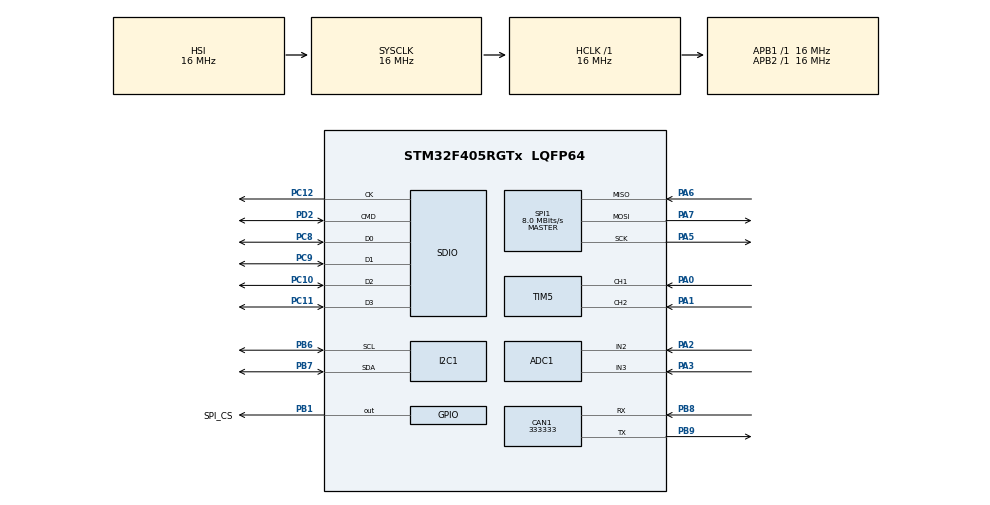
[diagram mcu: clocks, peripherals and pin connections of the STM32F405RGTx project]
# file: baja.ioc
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ADC1.Channel-0\#ChannelRegularConversion=ADC_CHANNEL_2
ADC1.Channel-1\#ChannelRegularConversion=ADC_CHANNEL_3
ADC1.ContinuousConvMode=ENABLE
ADC1.DMAContinuousRequests=ENABLE
ADC1.DiscontinuousConvMode=DISABLE
ADC1.NbrOfConversion=2
ADC1.NbrOfConversionFlag=1
ADC1.Rank-0\#ChannelRegularConversion=1
ADC1.Rank-1\#ChannelRegularConversion=2
ADC1.SamplingTime-0\#ChannelRegularConversion=ADC_SAMPLETIME_3CYCLES
ADC1.SamplingTime-1\#ChannelRegularConversion=ADC_SAMPLETIME_3CYCLES
ADC1.ScanConvMode=ENABLE
ADC1.master=1
CAN1.ABOM=ENABLE
CAN1.AWUM=ENABLE
CAN1.CalculateBaudRate=333333
CAN1.CalculateTimeBit=3000
CAN1.CalculateTimeQuantum=1000.0
CAN1.NART=ENABLE
Dma.ADC1.2.Direction=DMA_PERIPH_TO_MEMORY
Dma.ADC1.2.FIFOMode=DMA_FIFOMODE_DISABLE
Dma.ADC1.2.Instance=DMA2_Stream0
Dma.ADC1.2.MemDataAlignment=DMA_MDATAALIGN_HALFWORD
Dma.ADC1.2.MemInc=DMA_MINC_ENABLE
Dma.ADC1.2.Mode=DMA_CIRCULAR
Dma.ADC1.2.PeriphDataAlignment=DMA_PDATAALIGN_HALFWORD
Dma.ADC1.2.PeriphInc=DMA_PINC_DISABLE
Dma.ADC1.2.Priority=DMA_PRIORITY_HIGH
Dma.Request0=SDIO_RX
Dma.Request1=SDIO_TX
Dma.Request2=ADC1
Dma.SDIO_RX.0.Direction=DMA_PERIPH_TO_MEMORY
Dma.SDIO_RX.0.FIFOMode=DMA_FIFOMODE_ENABLE
Dma.SDIO_RX.0.FIFOThreshold=DMA_FIFO_THRESHOLD_FULL
Dma.SDIO_RX.0.Instance=DMA2_Stream3
Dma.SDIO_RX.0.MemBurst=DMA_MBURST_INC4
Dma.SDIO_RX.0.MemDataAlignment=DMA_MDATAALIGN_WORD
Dma.SDIO_RX.0.MemInc=DMA_MINC_ENABLE
Dma.SDIO_RX.0.Mode=DMA_PFCTRL
Dma.SDIO_RX.0.PeriphBurst=DMA_PBURST_INC4
Dma.SDIO_RX.0.PeriphDataAlignment=DMA_PDATAALIGN_WORD
Dma.SDIO_RX.0.PeriphInc=DMA_PINC_DISABLE
Dma.SDIO_RX.0.Priority=DMA_PRIORITY_VERY_HIGH
Dma.SDIO_TX.1.Direction=DMA_MEMORY_TO_PERIPH
Dma.SDIO_TX.1.FIFOMode=DMA_FIFOMODE_ENABLE
Dma.SDIO_TX.1.FIFOThreshold=DMA_FIFO_THRESHOLD_FULL
Dma.SDIO_TX.1.Instance=DMA2_Stream6
Dma.SDIO_TX.1.MemBurst=DMA_MBURST_INC4
Dma.SDIO_TX.1.MemDataAlignment=DMA_MDATAALIGN_WORD
Dma.SDIO_TX.1.MemInc=DMA_MINC_ENABLE
Dma.SDIO_TX.1.Mode=DMA_PFCTRL
Dma.SDIO_TX.1.PeriphBurst=DMA_PBURST_INC4
Dma.SDIO_TX.1.PeriphDataAlignment=DMA_PDATAALIGN_WORD
Dma.SDIO_TX.1.PeriphInc=DMA_PINC_DISABLE
Dma.SDIO_TX.1.Priority=DMA_PRIORITY_VERY_HIGH
FREERTOS.Tasks01=defaultTask,0,128,StartDefaultTask,Default,NULL,Dynamic,NULL,NULL
FREERTOS.configCHECK_FOR_STACK_OVERFLOW=2
FREERTOS.configUSE_MALLOC_FAILED_HOOK=1
IWDG.Prescaler=IWDG_PRESCALER_32
Mcu.Family=STM32F4
Mcu.Name=STM32F405RGTx
Mcu.Package=LQFP64
NVIC.CAN1_RX0_IRQn=false\:5\:0\:false\:false\:true\:true\:true\:true\:true
NVIC.CAN1_SCE_IRQn=true\:5\:0\:false\:false\:true\:true\:true\:true\:true
NVIC.DMA2_Stream0_IRQn=true\:5\:0\:false\:false\:true\:true\:false\:true\:true
NVIC.DMA2_Stream3_IRQn=true\:5\:0\:false\:false\:true\:true\:false\:true\:true
NVIC.DMA2_Stream6_IRQn=true\:5\:0\:false\:false\:true\:true\:false\:true\:true
NVIC.PriorityGroup=NVIC_PRIORITYGROUP_4
NVIC.SDIO_IRQn=true\:5\:0\:false\:false\:true\:true\:true\:true\:true
NVIC.TIM5_IRQn=true\:5\:0\:false\:false\:true\:true\:true\:true\:true
NVIC.TIM6_DAC_IRQn=true\:15\:0\:false\:false\:true\:false\:false\:true\:true
NVIC.TimeBase=TIM6_DAC_IRQn
NVIC.TimeBaseIP=TIM6
PA0-WKUP.Signal=S_TIM5_CH1
PA1.Signal=S_TIM5_CH2
PA13.Mode=Serial_Wire
PA13.Signal=SYS_JTMS-SWDIO
PA14.Mode=Serial_Wire
PA14.Signal=SYS_JTCK-SWCLK
PA2.Signal=ADCx_IN2
PA3.Signal=ADCx_IN3
PA5.Mode=Full_Duplex_Master
PA5.Signal=SPI1_SCK
PA6.Mode=Full_Duplex_Master
PA6.Signal=SPI1_MISO
PA7.Mode=Full_Duplex_Master
PA7.Signal=SPI1_MOSI
PB1.GPIO_Label=SPI_CS
PB1.PinState=GPIO_PIN_SET
PB1.Signal=GPIO_Output
PB6.Mode=I2C
PB6.Signal=I2C1_SCL
PB7.Mode=I2C
PB7.Signal=I2C1_SDA
PB8.Mode=CAN_Activate
PB8.Signal=CAN1_RX
PB9.Mode=CAN_Activate
PB9.Signal=CAN1_TX
PC10.Mode=SD_4_bits_Wide_bus
PC10.Signal=SDIO_D2
PC11.Mode=SD_4_bits_Wide_bus
PC11.Signal=SDIO_D3
PC12.Mode=SD_4_bits_Wide_bus
PC12.Signal=SDIO_CK
PC8.Mode=SD_4_bits_Wide_bus
PC8.Signal=SDIO_D0
PC9.Mode=SD_4_bits_Wide_bus
PC9.Signal=SDIO_D1
PD2.Mode=SD_4_bits_Wide_bus
PD2.Signal=SDIO_CMD
PH0-OSC_IN.Mode=HSE-External-Oscillator
PH0-OSC_IN.Signal=RCC_OSC_IN
PH1-OSC_OUT.Mode=HSE-External-Oscillator
PH1-OSC_OUT.Signal=RCC_OSC_OUT
ProjectManager.HeapSize=0x200
ProjectManager.StackSize=0x400
ProjectManager.TargetToolchain=Makefile
RCC.AHBFreq_Value=16000000
RCC.APB1Freq_Value=16000000
RCC.APB2Freq_Value=16000000
RCC.CortexFreq_Value=16000000
RCC.HSE_VALUE=25000000
RCC.HSI_VALUE=16000000
RCC.LSE_VALUE=32768
RCC.SYSCLKFreq_VALUE=16000000
RCC.VCOOutputFreq_Value=192000000
SDIO.ClockDiv=2
SH.ADCx_IN2.0=ADC1_IN2,IN2
SH.ADCx_IN3.0=ADC1_IN3,IN3
SH.S_TIM5_CH1.0=TIM5_CH1,Input_Capture1_from_TI1
SH.S_TIM5_CH2.0=TIM5_CH2,Input_Capture2_from_TI2
SPI1.CalculateBaudRate=8.0 MBits/s
SPI1.Direction=SPI_DIRECTION_2LINES
SPI1.Mode=SPI_MODE_MASTER
SPI1.VirtualType=VM_MASTER
TIM5.Channel-Input_Capture1_from_TI1=TIM_CHANNEL_1
TIM5.Channel-Input_Capture2_from_TI2=TIM_CHANNEL_2
VP_FATFS_VS_SDIO.Mode=SDIO
VP_FREERTOS_VS_CMSIS_V1.Mode=CMSIS_V1
VP_IWDG_VS_IWDG.Mode=IWDG_Activate
VP_SYS_VS_tim6.Mode=TIM6
board=custom

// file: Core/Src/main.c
/* USER CODE BEGIN Header */
/**
  ******************************************************************************
  * @file           : main.c
  * @brief          : Main program body
  ******************************************************************************
  * @attention
  *
  * Copyright (c) 2026 STMicroelectronics.
  * All rights reserved.
  *
  * This software is licensed under terms that can be found in the LICENSE file
  * in the root directory of this software component.
  * If no LICENSE file comes with this software, it is provided AS-IS.
  *
  ******************************************************************************
  */
/* USER CODE END Header */
#include "main.h"
#include "cmsis_os.h"
#include "adc.h"
#include "can.h"
#include "dma.h"
#include "fatfs.h"
#include "i2c.h"
#include "iwdg.h"
#include "sdio.h"
#include "spi.h"
#include "tim.h"
#include "gpio.h"
#include "diagnostics.h"

/* USER CODE BEGIN PV */
// --- FreeRTOS Globals ---
QueueHandle_t csvDataQueue;

volatile uint16_t adc_buffer[2]; // DMA buffer for 2 analog channels
uint32_t susp_zero_front_rt = 0;
uint32_t susp_zero_rear_rt = 0;

volatile uint32_t engine_delta_ticks = 0;
volatile uint32_t secondary_delta_ticks = 0;
volatile uint32_t engine_last_pulse_ms = 0;
volatile uint32_t secondary_last_pulse_ms = 0;
static volatile uint32_t engine_last_capture = 0;
static volatile uint32_t secondary_last_capture = 0;
static volatile uint8_t engine_capture_valid = 0;
static volatile uint8_t secondary_capture_valid = 0;

// --- CAN Globals ---
CAN_TxHeaderTypeDef TxHeader;
uint32_t TxMailbox;
uint8_t TxData[8];
/* USER CODE END PV */

void SystemClock_Config(void);
void MX_FREERTOS_Init(void);

/* USER CODE BEGIN 0 */
// --- Initialization Functions ---
void Init_CAN_Broadcast(void) {
    if (HAL_CAN_Start(&hcan1) != HAL_OK ||
        HAL_CAN_ActivateNotification(&hcan1,
                                     CAN_IT_ERROR |
                                     CAN_IT_BUSOFF) != HAL_OK) {
        Error_Handler();
    }

    // Pre-configure the Transmission Header
    TxHeader.StdId = 0x100;
    TxHeader.ExtId = 0x00;
    TxHeader.RTR = CAN_RTR_DATA;
    TxHeader.IDE = CAN_ID_STD;
    TxHeader.DLC = 8;
    TxHeader.TransmitGlobalTime = DISABLE;
}

// Called once in main() before FreeRTOS scheduler starts
void Calibrate_Suspension_Zeros(void) {
    uint32_t front_sum = 0U;
    uint32_t rear_sum = 0U;
    uint32_t sample;

    if (HAL_ADC_Start_DMA(&hadc1, (uint32_t *)adc_buffer, 2) != HAL_OK) {
        Error_Handler();
    }
    HAL_Delay(10);
    for (sample = 0U; sample < 32U; sample++) {
        front_sum += adc_buffer[0];
        rear_sum += adc_buffer[1];
        HAL_Delay(1);
    }
    susp_zero_front_rt = front_sum / 32U;
    susp_zero_rear_rt = rear_sum / 32U;
}

void Start_Timing_Inputs(void) {
    if (HAL_TIM_IC_Start_IT(&htim5, TIM_CHANNEL_1) != HAL_OK) {
        Error_Handler();
    }
    if (HAL_TIM_IC_Start_IT(&htim5, TIM_CHANNEL_2) != HAL_OK) {
        Error_Handler();
    }
}
/* USER CODE END 0 */

int main(void)
{

  /* MCU Configuration--------------------------------------------------------*/

  /* Reset of all peripherals, Initializes the Flash interface and the Systick. */
  HAL_Init();

  /* Configure the system clock */
  SystemClock_Config();

  /* Initialize all configured peripherals */
  MX_GPIO_Init();
  MX_DMA_Init();
  MX_ADC1_Init();
  MX_CAN1_Init();
  MX_I2C1_Init();
  MX_SDIO_SD_Init();
  MX_SPI1_Init();
  MX_TIM5_Init();
  MX_FATFS_Init();
  MX_IWDG_Init();
  /* USER CODE BEGIN 2 */
  Calibrate_Suspension_Zeros();
  Start_Timing_Inputs();
  Init_CAN_Broadcast();
  /* USER CODE END 2 */

  /* Call init function for freertos objects (in cmsis_os2.c) */
  MX_FREERTOS_Init();

  /* Start scheduler */
  osKernelStart();

  /* We should never get here as control is now taken by the scheduler */

  /* Infinite loop */
  while (1)
  {

  }
}

void SystemClock_Config(void)
{
  RCC_OscInitTypeDef RCC_OscInitStruct = {0};
  RCC_ClkInitTypeDef RCC_ClkInitStruct = {0};

  /** Configure the main internal regulator output voltage
  */
  __HAL_RCC_PWR_CLK_ENABLE();
  __HAL_PWR_VOLTAGESCALING_CONFIG(PWR_REGULATOR_VOLTAGE_SCALE1);

  /** Initializes the RCC Oscillators according to the specified parameters
  * in the RCC_OscInitTypeDef structure.
  */
  RCC_OscInitStruct.OscillatorType = RCC_OSCILLATORTYPE_HSI|RCC_OSCILLATORTYPE_LSI;
  RCC_OscInitStruct.HSIState = RCC_HSI_ON;
  RCC_OscInitStruct.HSICalibrationValue = RCC_HSICALIBRATION_DEFAULT;
  RCC_OscInitStruct.LSIState = RCC_LSI_ON;
  RCC_OscInitStruct.PLL.PLLState = RCC_PLL_ON;
  RCC_OscInitStruct.PLL.PLLSource = RCC_PLLSOURCE_HSI;
  RCC_OscInitStruct.PLL.PLLM = 16;
  RCC_OscInitStruct.PLL.PLLN = 192;
  RCC_OscInitStruct.PLL.PLLP = RCC_PLLP_DIV2;
  RCC_OscInitStruct.PLL.PLLQ = 4;
  if (HAL_RCC_OscConfig(&RCC_OscInitStruct) != HAL_OK)
  {
    Error_Handler();
  }

  /** Initializes the CPU, AHB and APB buses clocks
  */
  RCC_ClkInitStruct.ClockType = RCC_CLOCKTYPE_HCLK|RCC_CLOCKTYPE_SYSCLK
                              |RCC_CLOCKTYPE_PCLK1|RCC_CLOCKTYPE_PCLK2;
  RCC_ClkInitStruct.SYSCLKSource = RCC_SYSCLKSOURCE_HSI;
  RCC_ClkInitStruct.AHBCLKDivider = RCC_SYSCLK_DIV1;
  RCC_ClkInitStruct.APB1CLKDivider = RCC_HCLK_DIV1;
  RCC_ClkInitStruct.APB2CLKDivider = RCC_HCLK_DIV1;

  if (HAL_RCC_ClockConfig(&RCC_ClkInitStruct, FLASH_LATENCY_0) != HAL_OK)
  {
    Error_Handler();
  }
}

/* USER CODE BEGIN 4 */
void HAL_TIM_IC_CaptureCallback(TIM_HandleTypeDef *htim)
{
  uint32_t capture;

  if (htim->Instance != TIM5) {
    return;
  }

  if (htim->Channel == HAL_TIM_ACTIVE_CHANNEL_1) {
    capture = HAL_TIM_ReadCapturedValue(htim, TIM_CHANNEL_1);
    if (engine_capture_valid != 0U) {
      engine_delta_ticks = capture - engine_last_capture;
    }
    engine_last_capture = capture;
    engine_last_pulse_ms = HAL_GetTick();
    engine_capture_valid = 1U;
  } else if (htim->Channel == HAL_TIM_ACTIVE_CHANNEL_2) {
    capture = HAL_TIM_ReadCapturedValue(htim, TIM_CHANNEL_2);
    if (secondary_capture_valid != 0U) {
      secondary_delta_ticks = capture - secondary_last_capture;
    }
    secondary_last_capture = capture;
    secondary_last_pulse_ms = HAL_GetTick();
    secondary_capture_valid = 1U;
  }
}

void HAL_CAN_ErrorCallback(CAN_HandleTypeDef *hcan)
{
  uint32_t error = HAL_CAN_GetError(hcan);

  if ((error & HAL_CAN_ERROR_BOF) != 0U) {
    g_diagnostics.can_bus_offs++;
    HAL_CAN_Stop(hcan);
    HAL_CAN_Start(hcan);
    HAL_CAN_ActivateNotification(hcan,
                                  CAN_IT_ERROR |
                                  CAN_IT_BUSOFF);
  }
}

/* USER CODE END 4 */

void HAL_TIM_PeriodElapsedCallback(TIM_HandleTypeDef *htim)
{
  if (htim->Instance == TIM6)
  {
    HAL_IncTick();
  }
}

void Error_Handler(void)
{
  __disable_irq();
  while (1)
  {
  }
}

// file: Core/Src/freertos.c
/* USER CODE BEGIN Header */
/**
  ******************************************************************************
  * File Name          : freertos.c
  * Description        : Code for freertos applications
  ******************************************************************************
  * @attention
  *
  * Copyright (c) 2026 STMicroelectronics.
  * All rights reserved.
  *
  * This software is licensed under terms that can be found in the LICENSE file
  * in the root directory of this software component.
  * If no LICENSE file comes with this software, it is provided AS-IS.
  *
  ******************************************************************************
  */
/* USER CODE END Header */

#include "FreeRTOS.h"
#include "task.h"
#include "queue.h"
#include "main.h"
#include "cmsis_os.h"
#include "monitoring.h"

osThreadId dataGatheringTaskHandle;
osThreadId sdWriterTaskHandle;
osThreadId stackWatermarkTaskHandle;

void Task_DataGathering(void const * argument);
void Task_SDWriter(void const * argument);
void Task_StackWatermark(void const * argument);

void MX_FREERTOS_Init(void);

void vApplicationGetIdleTaskMemory(StaticTask_t **ppxIdleTaskTCBBuffer,
                                   StackType_t **ppxIdleTaskStackBuffer,
                                   uint32_t *pulIdleTaskStackSize);
void vApplicationStackOverflowHook(xTaskHandle xTask, signed char *pcTaskName);
void vApplicationMallocFailedHook(void);

__weak void vApplicationStackOverflowHook(xTaskHandle xTask, signed char *pcTaskName)
{
  (void)xTask;
  (void)pcTaskName;
  __disable_irq();
  for(;;)
  {
  }
}

__weak void vApplicationMallocFailedHook(void)
{
  __disable_irq();
  for(;;)
  {
  }
}

static StaticTask_t xIdleTaskTCBBuffer;
static StackType_t xIdleStack[configMINIMAL_STACK_SIZE];

void vApplicationGetIdleTaskMemory(StaticTask_t **ppxIdleTaskTCBBuffer,
                                   StackType_t **ppxIdleTaskStackBuffer,
                                   uint32_t *pulIdleTaskStackSize)
{
  *ppxIdleTaskTCBBuffer = &xIdleTaskTCBBuffer;
  *ppxIdleTaskStackBuffer = &xIdleStack[0];
  *pulIdleTaskStackSize = configMINIMAL_STACK_SIZE;
}

void MX_FREERTOS_Init(void)
{
  csvDataQueue = xQueueCreate(CSV_QUEUE_DEPTH, sizeof(data_record_t));
  if (csvDataQueue == NULL) {
    Error_Handler();
  }

  osThreadDef(dataGatheringTask, Task_DataGathering, osPriorityHigh, 0, 256);
  dataGatheringTaskHandle = osThreadCreate(osThread(dataGatheringTask), NULL);
  if (dataGatheringTaskHandle == NULL) {
    Error_Handler();
  }

  osThreadDef(sdWriterTask, Task_SDWriter, osPriorityBelowNormal, 0, 1024);
  sdWriterTaskHandle = osThreadCreate(osThread(sdWriterTask), NULL);
  if (sdWriterTaskHandle == NULL) {
    Error_Handler();
  }

  osThreadDef(stackWatermarkTask, Task_StackWatermark, osPriorityNormal, 0, 256);
  stackWatermarkTaskHandle = osThreadCreate(osThread(stackWatermarkTask), NULL);
  if (stackWatermarkTaskHandle == NULL) {
    Error_Handler();
  }
}
